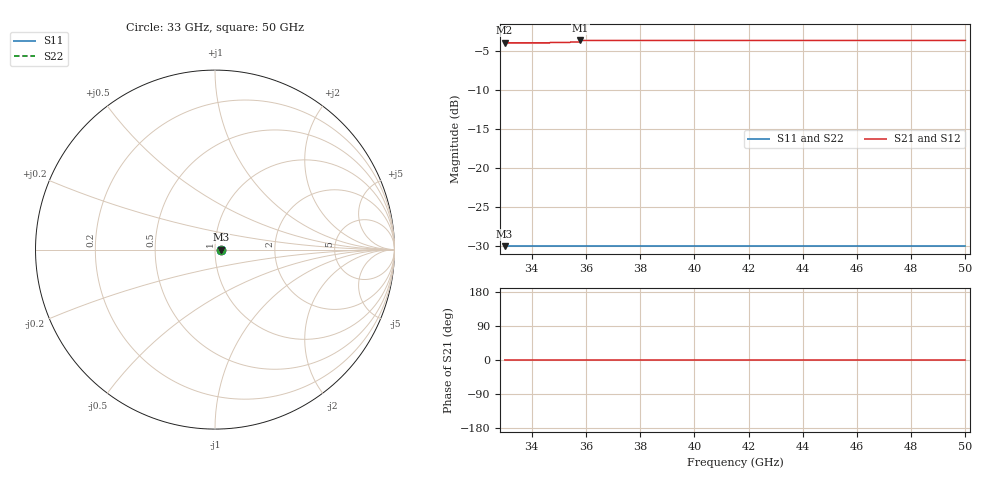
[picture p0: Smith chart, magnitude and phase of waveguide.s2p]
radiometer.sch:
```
<Qucs Schematic 0.0.12>
<Properties>
  <View=76,-59,1020,512,1.15528,0,14>
  <Grid=10,10,1>
  <DataSet=radiometer.dat>
  <DataDisplay=radiometer.dpl>
  <OpenDisplay=1>
  <showFrame=0>
  <FrameText0=Title>
  <FrameText1=Drawn By:>
  <FrameText2=Date:>
  <FrameText3=Revision:>
</Properties>
<Symbol>
</Symbol>
<Components>
  <GND * 1 210 50 0 0 0 0>
  <GND * 1 470 210 0 0 0 0>
  <GND * 1 590 240 0 0 0 0>
  <GND * 1 390 160 0 0 0 0>
  <GND * 1 130 180 0 0 0 0>
  <GND * 1 310 100 0 0 0 0>
  <Pac OutputPort 1 590 210 18 -26 0 1 "2" 0 "50 Ohm" 0 "0 W" 0 "1 GHz" 0 "-273.15" 0>
  <Eqn Tsky 1 220 170 -31 16 0 0 "Tsky_K=10" 1 "Tsky_C=Tsky_K-273.15" 0 "yes" 0>
  <Pac SkyLoad 1 130 150 18 -26 0 1 "1" 0 "50 Ohm" 0 "0 W" 0 "1 GHz" 0 "Tsky_C" 0>
  <Eqn OutputVolts 1 410 260 -31 16 0 0 "outvolts_V=out_sqrtV.vn^2" 1 "Freq_GHz=acfrequency*1e-9" 0 "outvolts_log=10*log10(outvolts_V)" 1 "outvolts_tot_V=sum(outvolts_V)" 1 "yes" 0>
  <.AC SpectralResponse 1 120 250 0 46 0 0 "lin" 0 "35 GHz" 1 "50 GHz" 1 "151" 0 "yes" 0>
  <SPfile FEED_OMT 1 210 20 -26 -59 0 0 "data/feed_horn.s2p" 1 "rectangular" 0 "linear" 0 "open" 0 "2" 0>
  <SPfile LNA 1 310 70 -26 -59 0 0 "data/lownoiseamplifier.s2p" 1 "rectangular" 0 "linear" 0 "open" 0 "2" 0>
  <SPfile WG 1 390 130 -26 -59 0 0 "data/waveguide.s2p" 1 "rectangular" 0 "linear" 0 "open" 0 "2" 0>
  <SPfile DIODE 1 470 180 -26 -59 0 0 "data/diode.s2p" 1 "rectangular" 0 "linear" 0 "open" 0 "2" 0>
</Components>
<Wires>
  <500 180 590 180 "out_sqrtV" 484 240 60 "">
  <130 20 180 20 "in" 170 40 30 "">
  <130 20 130 120 "" 0 0 0 "">
  <420 180 440 180 "" 0 0 0 "">
  <420 130 420 180 "" 0 0 0 "">
  <340 130 360 130 "" 0 0 0 "">
  <340 70 340 130 "" 0 0 0 "">
  <240 20 280 20 "fem_in" 210 80 10 "">
  <280 20 280 70 "" 0 0 0 "">
  <420 180 420 180 "bem_in" 390 200 0 "">
  <340 130 340 130 "wg_in" 300 150 0 "">
</Wires>
<Diagrams>
</Diagrams>
<Paintings>
  <Text 510 -30 12 #000000 0 "Radiometer Demo\nbuilt by Andrea Zonca\nall input data are fictitious\n\n">
</Paintings>
```
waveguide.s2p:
# Ghz S DB R 50
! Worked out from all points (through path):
!   1001 points, 33 GHz to 50 GHz, reference 50 ohm
!   highest |S21| = -3.70 dB at 35.79 GHz (marker M1); lowest = -4.0 dB at 33 GHz (marker M2)
!   lowest |S11| = -30.0 dB at 33 GHz (marker M3), VSWR 1.07, Z = 53.3 + j0 ohm
!   |S11| at or under -10 dB: start of sweep to end of sweep
!   |S22| runs from -30.0 to -30.0 dB; largest |S21 - S12| = 0
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33  -30.00 0.0  -4.00 0.0  -4.00 0.0  -30.00 0.0
34.581  -30.00 0.0  -4.00 0.0  -4.00 0.0  -30.00 0.0
34.615  -30.00 0.0  -4.00 0.0  -4.00 0.0  -30.00 0.0
34.768  -30.00 0.0  -3.95 0.0  -3.95 0.0  -30.00 0.0
35.329  -30.00 0.0  -3.95 0.0  -3.95 0.0  -30.00 0.0
35.516  -30.00 0.0  -3.90 0.0  -3.90 0.0  -30.00 0.0
35.686  -30.00 0.0  -3.90 0.0  -3.90 0.0  -30.00 0.0
35.788  -30.00 0.0  -3.70 0.0  -3.70 0.0  -30.00 0.0
35.873  -30.00 0.0  -3.70 0.0  -3.70 0.0  -30.00 0.0
41.5  -30.00 0.0  -3.70 0.0  -3.70 0.0  -30.00 0.0
50  -30.00 0.0  -3.70 0.0  -3.70 0.0  -30.00 0.0
